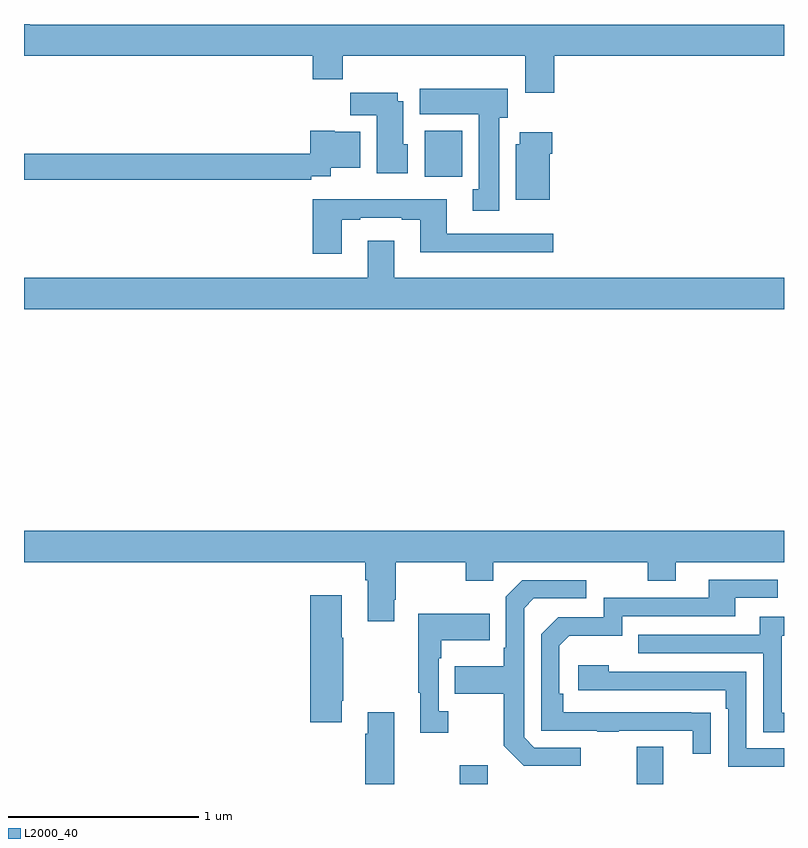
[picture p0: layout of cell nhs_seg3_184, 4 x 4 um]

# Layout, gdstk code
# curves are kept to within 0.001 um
import gdstk
lib = gdstk.Library(unit=1e-6, precision=1e-09)
def R(c, l, rs):  # rectangles x0, y0, x1, y1
    for r in rs: c.add(gdstk.rectangle(r[:2], r[2:], *l))
def P(c, l, *ps):  # polygons
    for p in ps: c.add(gdstk.Polygon(p, *l))
L2000_40 = (2000, 40)

nhs_seg3_184 = lib.new_cell('nhs_seg3_184')
R(nhs_seg3_184, L2000_40, [(121.294,714.4,121.441,714.499), (122.225,714.4,122.365,714.595), (121.109,717.596,121.306,717.838)])
P(nhs_seg3_184, L2000_40, [(121.79,718.232),(123,718.232),(123,718.396),(119.03,718.396),(119.03,718.4),(119,718.4),(119,718.232),(120.521,718.232),(120.521,718.108),(120.677,718.108),(120.677,718.232),(121.637,718.232),(121.637,718.038),(121.79,718.038)],
  [(121.501,717.906),(121.546,717.906),(121.546,718.06),(121.082,718.06),(121.082,717.926),(121.394,717.926),(121.394,717.53),(121.361,717.53),(121.361,717.417),(121.501,717.417)],
  [(121.021,717.768),(120.997,717.768),(120.997,717.994),(120.967,717.994),(120.967,718.039),(120.718,718.039),(120.718,717.92),(120.857,717.92),(120.857,717.614),(121.021,717.614)],
  [(120.512,717.6),(120.615,717.6),(120.615,717.644),(120.769,717.644),(120.769,717.832),(120.636,717.832),(120.636,717.838),(120.507,717.838),(120.507,717.716),(119,717.716),(119,717.58),(120.512,717.58)],
  [(121.768,717.716),(121.781,717.716),(121.781,717.829),(121.61,717.829),(121.61,717.768),(121.589,717.768),(121.589,717.476),(121.768,717.476)],
  [(120.673,717.369),(120.769,717.369),(120.769,717.381),(120.989,717.381),(120.989,717.369),(121.085,717.369),(121.085,717.2),(121.786,717.2),(121.786,717.297),(121.225,717.297),(121.225,717.478),(120.521,717.478),(120.521,717.192),(120.673,717.192)],
  [(123,717.064),(120.949,717.064),(120.949,717.259),(120.809,717.259),(120.809,717.064),(119,717.064),(119,716.9),(123,716.9)],
  [(120.949,715.369),(120.957,715.369),(120.957,715.568),(121.324,715.568),(121.324,715.469),(121.47,715.469),(121.47,715.568),(122.284,715.568),(122.284,715.469),(122.431,715.469),(122.431,715.568),(123,715.568),(123,715.732),(119,715.732),(119,715.568),(120.797,715.568),(120.797,715.472),(120.809,715.472),(120.809,715.257),(120.949,715.257)],
  [(122.615,714.776),(121.838,714.777),(121.838,714.874),(121.818,714.874),(121.818,715.128),(121.871,715.181),(122.148,715.181),(122.148,715.284),(122.743,715.284),(122.743,715.38),(122.968,715.38),(122.968,715.476),(122.603,715.476),(122.603,715.38),(122.052,715.38),(122.052,715.278),(121.812,715.278),(121.722,715.188),(121.722,714.681),(122.017,714.681),(122.017,714.676),(122.129,714.676),(122.129,714.681),(122.519,714.681),(122.519,714.558),(122.615,714.558)],
  [(121.93,714.591),(121.686,714.591),(121.632,714.645),(121.632,715.326),(121.683,715.377),(121.96,715.377),(121.96,715.473),(121.623,715.473),(121.536,715.386),(121.536,715.117),(121.524,715.117),(121.524,715.021),(121.267,715.021),(121.267,714.874),(121.524,714.874),(121.524,714.601),(121.629,714.495),(121.93,714.495)],
  [(120.673,714.838),(120.681,714.838),(120.681,715.169),(120.673,715.169),(120.673,715.393),(120.506,715.393),(120.506,714.726),(120.673,714.726)],
  [(121.234,714.782),(121.182,714.782),(121.182,715.061),(121.195,715.061),(121.195,715.157),(121.451,715.157),(121.451,715.297),(121.074,715.297),(121.074,714.881),(121.085,714.881),(121.085,714.669),(121.234,714.669)],
  [(123,714.774),(122.988,714.774),(122.988,715.179),(123,715.179),(123,715.279),(122.873,715.279),(122.873,715.185),(122.233,715.185),(122.233,715.089),(122.892,715.089),(122.892,714.673),(123,714.673)],
  [(123,714.588),(122.802,714.588),(122.802,714.99),(122.078,714.99),(122.078,715.024),(121.917,715.024),(121.917,714.894),(122.693,714.894),(122.693,714.797),(122.706,714.797),(122.706,714.492),(123,714.492)],
  [(120.809,714.778),(120.809,714.665),(120.797,714.665),(120.797,714.4),(120.949,714.4),(120.949,714.778)])

lib.write_gds('nhs_seg3_184.gds')
